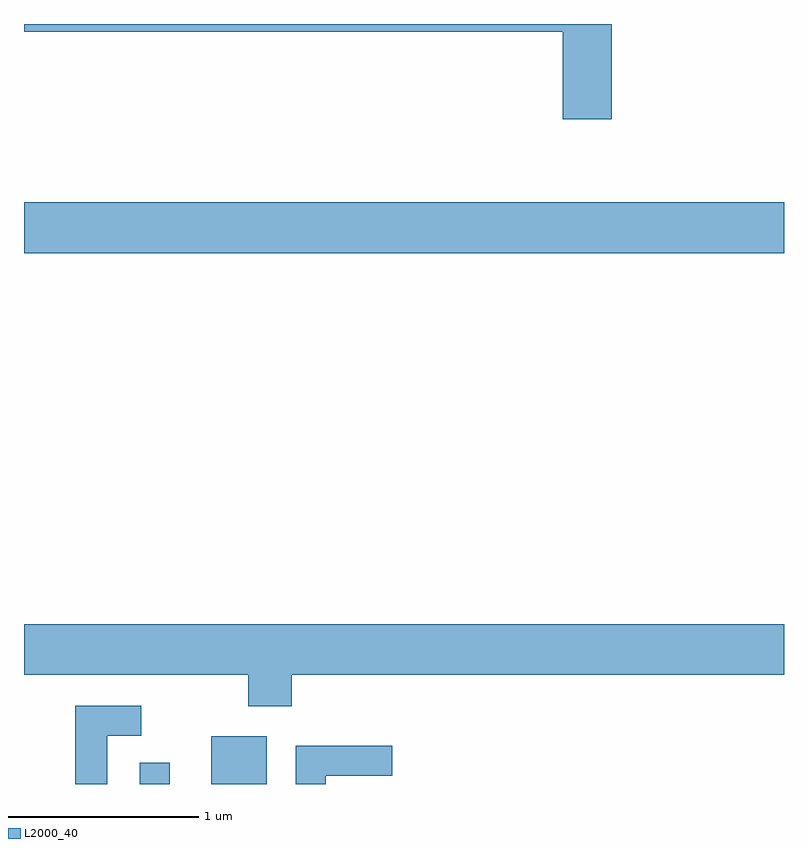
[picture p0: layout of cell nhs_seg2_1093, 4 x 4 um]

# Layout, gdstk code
import gdstk
lib = gdstk.Library(unit=1e-6, precision=1e-09)
def R(c, l, rs):  # rectangles x0, y0, x1, y1
    for r in rs: c.add(gdstk.rectangle(r[:2], r[2:], *l))
def P(c, l, *ps):  # polygons
    for p in ps: c.add(gdstk.Polygon(p, *l))
L2000_40 = (2000, 40)

nhs_seg2_1093 = lib.new_cell('nhs_seg2_1093')
R(nhs_seg2_1093, L2000_40, [(218.221,987.802,218.379,987.913), (218.596,987.802,218.889,988.054), (217.611,990.596,221.611,990.864)])
P(nhs_seg2_1093, L2000_40, [(220.704,991.802),(217.611,991.802),(217.611,991.761),(220.446,991.761),(220.446,991.301),(220.704,991.301)],
  [(219.019,988.376),(221.611,988.376),(221.611,988.644),(217.611,988.644),(217.611,988.376),(218.791,988.376),(218.791,988.211),(219.019,988.211)],
  [(218.049,988.056),(218.228,988.056),(218.228,988.214),(217.881,988.214),(217.881,987.802),(218.049,987.802)],
  [(219.199,987.846),(219.548,987.846),(219.548,988.004),(219.041,988.004),(219.041,987.802),(219.199,987.802)])

lib.write_gds('nhs_seg2_1093.gds')
